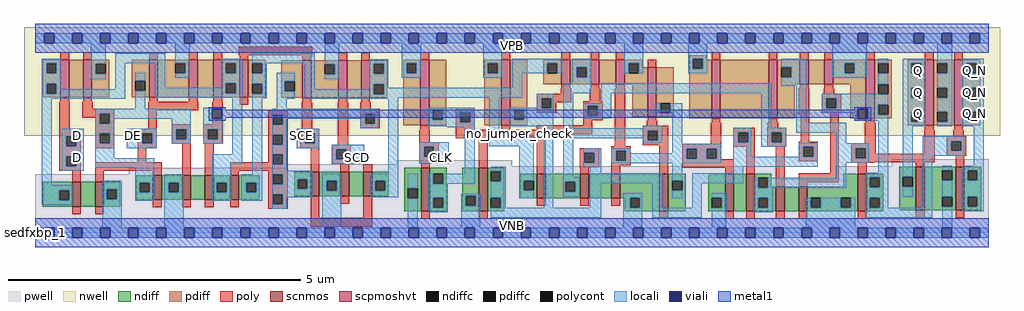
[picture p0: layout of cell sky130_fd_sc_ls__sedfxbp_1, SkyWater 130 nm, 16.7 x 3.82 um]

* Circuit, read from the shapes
.subckt sky130_fd_sc_ls__sedfxbp_1 CLK D DE SCD SCE VGND VNB VPB VPWR Q Q_N
XM1 n1 D n2 VNB sky130_fd_pr__nfet_01v8 w=0.42 l=0.15
XM2 VGND DE n1 VNB sky130_fd_pr__nfet_01v8 w=0.42 l=0.15
XM3 VGND DE n3 VNB sky130_fd_pr__nfet_01v8 w=0.42 l=0.15
XM4 n4 n3 VGND VNB sky130_fd_pr__nfet_01v8 w=0.42 l=0.15
XM5 n2 n5 n4 VNB sky130_fd_pr__nfet_01v8 w=0.42 l=0.15
XM6 n6 n7 n2 VNB sky130_fd_pr__nfet_01v8 w=0.42 l=0.15
XM7 VGND SCE n7 VNB sky130_fd_pr__nfet_01v8 w=0.42 l=0.15
XM8 n8 SCD VGND VNB sky130_fd_pr__nfet_01v8 w=0.42 l=0.15
XM9 n6 SCE n8 VNB sky130_fd_pr__nfet_01v8 w=0.42 l=0.15
XM10 n9 CLK VGND VNB sky130_fd_pr__nfet_01v8 w=0.74 l=0.15
XM11 n10 n9 VGND VNB sky130_fd_pr__nfet_01v8 w=0.74 l=0.15
XM12 n11 n9 n6 VNB sky130_fd_pr__nfet_01v8 w=0.42 l=0.15
XM13 n12 n10 n11 VNB sky130_fd_pr__nfet_01v8 w=0.42 l=0.15
XM14 VGND n13 n12 VNB sky130_fd_pr__nfet_01v8 w=0.42 l=0.15
XM15 n13 n11 VGND VNB sky130_fd_pr__nfet_01v8 w=0.64 l=0.15
XM16 n14 n13 VGND VNB sky130_fd_pr__nfet_01v8 w=0.64 l=0.15
XM17 n15 n10 n14 VNB sky130_fd_pr__nfet_01v8 w=0.64 l=0.15
XM18 n16 n9 n15 VNB sky130_fd_pr__nfet_01v8 w=0.42 l=0.15
XM19 VGND n5 n16 VNB sky130_fd_pr__nfet_01v8 w=0.42 l=0.15
XM20 n5 n15 VGND VNB sky130_fd_pr__nfet_01v8 w=0.64 l=0.15
XM21 VGND n15 Q VNB sky130_fd_pr__nfet_01v8 w=0.74 l=0.15
XM22 Q_N n5 VGND VNB sky130_fd_pr__nfet_01v8 w=0.74 l=0.15
XM23 n17 D n2 VPB sky130_fd_pr__pfet_01v8_hvt w=0.64 l=0.15
XM24 VPWR n3 n17 VPB sky130_fd_pr__pfet_01v8_hvt w=0.64 l=0.15
XM25 VPWR DE n3 VPB sky130_fd_pr__pfet_01v8_hvt w=0.64 l=0.15
XM26 n18 DE VPWR VPB sky130_fd_pr__pfet_01v8_hvt w=0.64 l=0.15
XM27 n2 n5 n18 VPB sky130_fd_pr__pfet_01v8_hvt w=0.64 l=0.15
XM28 n6 SCE n2 VPB sky130_fd_pr__pfet_01v8_hvt w=0.64 l=0.15
XM29 VPWR SCE n7 VPB sky130_fd_pr__pfet_01v8_hvt w=0.64 l=0.15
XM30 n19 SCD VPWR VPB sky130_fd_pr__pfet_01v8_hvt w=0.64 l=0.15
XM31 n6 n7 n19 VPB sky130_fd_pr__pfet_01v8_hvt w=0.64 l=0.15
XM32 n9 CLK VPWR VPB sky130_fd_pr__pfet_01v8_hvt w=1.12 l=0.15
XM33 n10 n9 VPWR VPB sky130_fd_pr__pfet_01v8_hvt w=1.12 l=0.15
XM34 n11 n10 n6 VPB sky130_fd_pr__pfet_01v8_hvt w=0.42 l=0.15
XM35 n20 n9 n11 VPB sky130_fd_pr__pfet_01v8_hvt w=0.42 l=0.15
XM36 VPWR n13 n20 VPB sky130_fd_pr__pfet_01v8_hvt w=0.42 l=0.15
XM37 n13 n11 VPWR VPB sky130_fd_pr__pfet_01v8_hvt w=0.84 l=0.15
XM38 n21 n13 VPWR VPB sky130_fd_pr__pfet_01v8_hvt w=1 l=0.15
XM39 n15 n9 n21 VPB sky130_fd_pr__pfet_01v8_hvt w=1 l=0.15
XM40 n22 n10 n15 VPB sky130_fd_pr__pfet_01v8_hvt w=0.42 l=0.15
XM41 VPWR n5 n22 VPB sky130_fd_pr__pfet_01v8_hvt w=0.42 l=0.15
XM42 n5 n15 VPWR VPB sky130_fd_pr__pfet_01v8_hvt w=1 l=0.15
XM43 VPWR n15 Q VPB sky130_fd_pr__pfet_01v8_hvt w=1.12 l=0.15
XM44 Q_N n5 VPWR VPB sky130_fd_pr__pfet_01v8_hvt w=1.12 l=0.15
.ends

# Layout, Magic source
magic
tech sky130A
magscale 1 2
<< nwell >>
rect -38 332 3302 704
<< pwell >>
rect 1238 235 1632 248
rect 860 228 1632 235
rect 2931 228 3263 252
rect 860 223 2546 228
rect 320 200 2546 223
rect 1 184 2546 200
rect 2740 184 3263 228
rect 1 49 3263 184
rect 0 0 3264 49
<< scnmos >>
rect 127 90 157 174
rect 205 90 235 174
rect 403 113 433 197
rect 503 113 533 197
rect 581 113 611 197
rect 667 113 697 197
rect 943 125 973 209
rect 1045 125 1075 209
rect 1123 125 1153 209
rect 1321 74 1351 222
rect 1519 74 1549 222
rect 1717 118 1747 202
rect 1865 118 1895 202
rect 1972 118 2002 202
rect 2136 74 2166 202
rect 2361 74 2391 202
rect 2433 74 2463 202
rect 2535 74 2565 158
rect 2613 74 2643 158
rect 2816 74 2846 202
rect 3014 78 3044 226
rect 3150 78 3180 226
<< scpmoshvt >>
rect 86 464 116 592
rect 164 464 194 592
rect 390 464 420 592
rect 526 464 556 592
rect 610 464 640 592
rect 700 464 730 592
rect 915 462 945 590
rect 1038 462 1068 590
rect 1116 462 1146 590
rect 1318 368 1348 592
rect 1596 368 1626 592
rect 1801 508 1831 592
rect 1901 508 1931 592
rect 1987 508 2017 592
rect 2096 398 2126 566
rect 2315 392 2345 592
rect 2510 392 2540 592
rect 2617 508 2647 592
rect 2701 508 2731 592
rect 2843 392 2873 592
rect 3045 368 3075 592
rect 3145 368 3175 592
<< ndiff >>
rect 27 146 127 174
rect 27 112 82 146
rect 116 112 127 146
rect 27 90 127 112
rect 157 90 205 174
rect 235 149 292 174
rect 235 115 246 149
rect 280 115 292 149
rect 235 90 292 115
rect 346 172 403 197
rect 346 138 358 172
rect 392 138 403 172
rect 346 113 403 138
rect 433 172 503 197
rect 433 138 458 172
rect 492 138 503 172
rect 433 113 503 138
rect 533 113 581 197
rect 611 172 667 197
rect 611 138 622 172
rect 656 138 667 172
rect 611 113 667 138
rect 697 172 768 197
rect 697 138 722 172
rect 756 138 768 172
rect 697 113 768 138
rect 886 184 943 209
rect 886 150 898 184
rect 932 150 943 184
rect 886 125 943 150
rect 973 178 1045 209
rect 973 144 998 178
rect 1032 144 1045 178
rect 973 125 1045 144
rect 1075 125 1123 209
rect 1153 178 1210 209
rect 1153 144 1164 178
rect 1198 144 1210 178
rect 1153 125 1210 144
rect 1264 153 1321 222
rect 1264 119 1276 153
rect 1310 119 1321 153
rect 1264 74 1321 119
rect 1351 202 1408 222
rect 1351 168 1362 202
rect 1396 168 1408 202
rect 1351 120 1408 168
rect 1351 86 1362 120
rect 1396 86 1408 120
rect 1351 74 1408 86
rect 1462 127 1519 222
rect 1462 93 1474 127
rect 1508 93 1519 127
rect 1462 74 1519 93
rect 1549 210 1606 222
rect 1549 176 1560 210
rect 1594 176 1606 210
rect 1549 120 1606 176
rect 1549 86 1560 120
rect 1594 86 1606 120
rect 1660 179 1717 202
rect 1660 145 1672 179
rect 1706 145 1717 179
rect 1660 118 1717 145
rect 1747 174 1865 202
rect 1747 140 1814 174
rect 1848 140 1865 174
rect 1747 118 1865 140
rect 1895 118 1972 202
rect 2002 120 2136 202
rect 2002 118 2036 120
rect 1549 74 1606 86
rect 2017 86 2036 118
rect 2070 86 2136 120
rect 2017 74 2136 86
rect 2166 179 2226 202
rect 2166 145 2180 179
rect 2214 145 2226 179
rect 2166 74 2226 145
rect 2304 120 2361 202
rect 2304 86 2316 120
rect 2350 86 2361 120
rect 2304 74 2361 86
rect 2391 74 2433 202
rect 2463 188 2520 202
rect 2463 154 2474 188
rect 2508 158 2520 188
rect 2766 158 2816 202
rect 2508 154 2535 158
rect 2463 120 2535 154
rect 2463 86 2474 120
rect 2508 86 2535 120
rect 2463 74 2535 86
rect 2565 74 2613 158
rect 2643 120 2816 158
rect 2643 86 2654 120
rect 2688 86 2757 120
rect 2791 86 2816 120
rect 2643 74 2816 86
rect 2846 190 2903 202
rect 2846 156 2857 190
rect 2891 156 2903 190
rect 2846 120 2903 156
rect 2846 86 2857 120
rect 2891 86 2903 120
rect 2846 74 2903 86
rect 2957 191 3014 226
rect 2957 157 2969 191
rect 3003 157 3014 191
rect 2957 78 3014 157
rect 3044 214 3150 226
rect 3044 180 3105 214
rect 3139 180 3150 214
rect 3044 124 3150 180
rect 3044 90 3105 124
rect 3139 90 3150 124
rect 3044 78 3150 90
rect 3180 214 3237 226
rect 3180 180 3191 214
rect 3225 180 3237 214
rect 3180 124 3237 180
rect 3180 90 3191 124
rect 3225 90 3237 124
rect 3180 78 3237 90
<< pdiff >>
rect 27 580 86 592
rect 27 546 39 580
rect 73 546 86 580
rect 27 510 86 546
rect 27 476 39 510
rect 73 476 86 510
rect 27 464 86 476
rect 116 464 164 592
rect 194 578 253 592
rect 194 544 207 578
rect 241 544 253 578
rect 194 464 253 544
rect 331 520 390 592
rect 331 486 343 520
rect 377 486 390 520
rect 331 464 390 486
rect 420 580 526 592
rect 420 546 479 580
rect 513 546 526 580
rect 420 464 526 546
rect 556 464 610 592
rect 640 580 700 592
rect 640 546 653 580
rect 687 546 700 580
rect 640 512 700 546
rect 640 478 653 512
rect 687 478 700 512
rect 640 464 700 478
rect 730 580 789 592
rect 2239 596 2297 608
rect 730 546 743 580
rect 777 546 789 580
rect 730 510 789 546
rect 730 476 743 510
rect 777 476 789 510
rect 730 464 789 476
rect 843 519 915 590
rect 843 485 855 519
rect 889 485 915 519
rect 843 462 915 485
rect 945 577 1038 590
rect 945 543 991 577
rect 1025 543 1038 577
rect 945 462 1038 543
rect 1068 462 1116 590
rect 1146 578 1205 590
rect 1146 544 1159 578
rect 1193 544 1205 578
rect 1146 508 1205 544
rect 1146 474 1159 508
rect 1193 474 1205 508
rect 1146 462 1205 474
rect 1259 580 1318 592
rect 1259 546 1271 580
rect 1305 546 1318 580
rect 1259 368 1318 546
rect 1348 421 1407 592
rect 1537 580 1596 592
rect 1537 546 1549 580
rect 1583 546 1596 580
rect 1348 387 1361 421
rect 1395 387 1407 421
rect 1348 368 1407 387
rect 1537 368 1596 546
rect 1626 421 1685 592
rect 1739 580 1801 592
rect 1739 546 1752 580
rect 1786 546 1801 580
rect 1739 508 1801 546
rect 1831 567 1901 592
rect 1831 533 1854 567
rect 1888 533 1901 567
rect 1831 508 1901 533
rect 1931 508 1987 592
rect 2017 580 2078 592
rect 2017 546 2032 580
rect 2066 566 2078 580
rect 2066 546 2096 566
rect 2017 508 2096 546
rect 1626 387 1639 421
rect 1673 387 1685 421
rect 1626 368 1685 387
rect 2043 398 2096 508
rect 2126 444 2185 566
rect 2126 410 2139 444
rect 2173 410 2185 444
rect 2126 398 2185 410
rect 2239 562 2251 596
rect 2285 592 2297 596
rect 2285 562 2315 592
rect 2239 392 2315 562
rect 2345 392 2510 592
rect 2540 567 2617 592
rect 2540 533 2553 567
rect 2587 533 2617 567
rect 2540 508 2617 533
rect 2647 508 2701 592
rect 2731 580 2843 592
rect 2731 546 2770 580
rect 2804 546 2843 580
rect 2731 508 2843 546
rect 2540 392 2599 508
rect 2790 392 2843 508
rect 2873 580 2932 592
rect 2873 546 2886 580
rect 2920 546 2932 580
rect 2873 509 2932 546
rect 2873 475 2886 509
rect 2920 475 2932 509
rect 2873 438 2932 475
rect 2873 404 2886 438
rect 2920 404 2932 438
rect 2873 392 2932 404
rect 2986 580 3045 592
rect 2986 546 2998 580
rect 3032 546 3045 580
rect 2986 497 3045 546
rect 2986 463 2998 497
rect 3032 463 3045 497
rect 2986 414 3045 463
rect 2986 380 2998 414
rect 3032 380 3045 414
rect 2986 368 3045 380
rect 3075 580 3145 592
rect 3075 546 3088 580
rect 3122 546 3145 580
rect 3075 497 3145 546
rect 3075 463 3088 497
rect 3122 463 3145 497
rect 3075 414 3145 463
rect 3075 380 3088 414
rect 3122 380 3145 414
rect 3075 368 3145 380
rect 3175 580 3234 592
rect 3175 546 3188 580
rect 3222 546 3234 580
rect 3175 497 3234 546
rect 3175 463 3188 497
rect 3222 463 3234 497
rect 3175 414 3234 463
rect 3175 380 3188 414
rect 3222 380 3234 414
rect 3175 368 3234 380
<< ndiffc >>
rect 82 112 116 146
rect 246 115 280 149
rect 358 138 392 172
rect 458 138 492 172
rect 622 138 656 172
rect 722 138 756 172
rect 898 150 932 184
rect 998 144 1032 178
rect 1164 144 1198 178
rect 1276 119 1310 153
rect 1362 168 1396 202
rect 1362 86 1396 120
rect 1474 93 1508 127
rect 1560 176 1594 210
rect 1560 86 1594 120
rect 1672 145 1706 179
rect 1814 140 1848 174
rect 2036 86 2070 120
rect 2180 145 2214 179
rect 2316 86 2350 120
rect 2474 154 2508 188
rect 2474 86 2508 120
rect 2654 86 2688 120
rect 2757 86 2791 120
rect 2857 156 2891 190
rect 2857 86 2891 120
rect 2969 157 3003 191
rect 3105 180 3139 214
rect 3105 90 3139 124
rect 3191 180 3225 214
rect 3191 90 3225 124
<< pdiffc >>
rect 39 546 73 580
rect 39 476 73 510
rect 207 544 241 578
rect 343 486 377 520
rect 479 546 513 580
rect 653 546 687 580
rect 653 478 687 512
rect 743 546 777 580
rect 743 476 777 510
rect 855 485 889 519
rect 991 543 1025 577
rect 1159 544 1193 578
rect 1159 474 1193 508
rect 1271 546 1305 580
rect 1549 546 1583 580
rect 1361 387 1395 421
rect 1752 546 1786 580
rect 1854 533 1888 567
rect 2032 546 2066 580
rect 1639 387 1673 421
rect 2139 410 2173 444
rect 2251 562 2285 596
rect 2553 533 2587 567
rect 2770 546 2804 580
rect 2886 546 2920 580
rect 2886 475 2920 509
rect 2886 404 2920 438
rect 2998 546 3032 580
rect 2998 463 3032 497
rect 2998 380 3032 414
rect 3088 546 3122 580
rect 3088 463 3122 497
rect 3088 380 3122 414
rect 3188 546 3222 580
rect 3188 463 3222 497
rect 3188 380 3222 414
<< poly >>
rect 86 592 116 618
rect 164 592 194 618
rect 390 592 420 618
rect 526 592 556 618
rect 610 592 640 618
rect 697 607 948 637
rect 700 592 730 607
rect 912 605 948 607
rect 915 590 945 605
rect 1038 590 1068 616
rect 1116 590 1146 616
rect 1318 592 1348 618
rect 1596 592 1626 618
rect 1801 592 1831 618
rect 1901 592 1931 618
rect 1987 592 2017 618
rect 86 449 116 464
rect 164 449 194 464
rect 390 449 420 464
rect 526 449 556 464
rect 610 449 640 464
rect 83 346 119 449
rect 161 424 197 449
rect 161 408 271 424
rect 161 394 221 408
rect 205 374 221 394
rect 255 374 271 408
rect 83 330 157 346
rect 83 296 107 330
rect 141 296 157 330
rect 83 262 157 296
rect 205 340 271 374
rect 387 419 559 449
rect 387 356 417 419
rect 607 371 643 449
rect 700 438 730 464
rect 915 447 945 462
rect 1038 447 1068 462
rect 1116 447 1146 462
rect 205 306 221 340
rect 255 306 271 340
rect 205 290 271 306
rect 351 340 417 356
rect 351 306 367 340
rect 401 306 417 340
rect 351 290 417 306
rect 467 355 533 371
rect 467 321 483 355
rect 517 321 533 355
rect 467 305 533 321
rect 575 355 643 371
rect 575 321 591 355
rect 625 321 643 355
rect 575 305 643 321
rect 798 404 864 420
rect 798 370 814 404
rect 848 370 864 404
rect 798 336 864 370
rect 912 356 948 447
rect 83 228 107 262
rect 141 228 157 262
rect 351 242 381 290
rect 83 212 157 228
rect 127 174 157 212
rect 205 212 433 242
rect 205 174 235 212
rect 403 197 433 212
rect 503 197 533 305
rect 581 197 611 305
rect 798 302 814 336
rect 848 302 864 336
rect 798 268 864 302
rect 907 340 973 356
rect 907 306 923 340
rect 957 306 973 340
rect 907 290 973 306
rect 1035 302 1071 447
rect 1113 424 1149 447
rect 1113 408 1179 424
rect 1113 374 1129 408
rect 1163 374 1179 408
rect 1113 358 1179 374
rect 1439 412 1505 428
rect 1439 378 1455 412
rect 1489 378 1505 412
rect 1318 353 1348 368
rect 1439 353 1505 378
rect 2096 566 2126 592
rect 1801 493 1831 508
rect 1901 493 1931 508
rect 1987 493 2017 508
rect 1798 476 1834 493
rect 1717 460 1834 476
rect 1717 426 1733 460
rect 1767 446 1834 460
rect 1898 451 1934 493
rect 1767 426 1783 446
rect 1717 410 1783 426
rect 1876 435 1942 451
rect 1876 401 1892 435
rect 1926 401 1942 435
rect 1876 385 1942 401
rect 1876 368 1906 385
rect 1596 353 1626 368
rect 1717 353 1906 368
rect 1315 310 1351 353
rect 1439 338 1906 353
rect 1439 323 1747 338
rect 798 242 814 268
rect 667 234 814 242
rect 848 234 864 268
rect 667 212 864 234
rect 667 197 697 212
rect 798 200 864 212
rect 943 209 973 290
rect 1015 286 1081 302
rect 1015 252 1031 286
rect 1065 252 1081 286
rect 1015 236 1081 252
rect 1315 294 1381 310
rect 1315 260 1331 294
rect 1365 260 1381 294
rect 1315 244 1381 260
rect 1045 209 1075 236
rect 1123 209 1153 235
rect 1321 222 1351 244
rect 1519 222 1549 323
rect 798 166 814 200
rect 848 166 864 200
rect 798 132 864 166
rect 127 64 157 90
rect 205 64 235 90
rect 403 87 433 113
rect 503 87 533 113
rect 581 87 611 113
rect 667 87 697 113
rect 798 98 814 132
rect 848 98 864 132
rect 798 82 864 98
rect 943 51 973 125
rect 1045 99 1075 125
rect 1123 51 1153 125
rect 1717 202 1747 323
rect 1984 297 2020 493
rect 2315 592 2345 618
rect 2510 592 2540 618
rect 2617 592 2647 618
rect 2701 592 2731 618
rect 2843 592 2873 618
rect 3045 592 3075 618
rect 3145 592 3175 618
rect 2096 383 2126 398
rect 2617 493 2647 508
rect 2701 493 2731 508
rect 2614 408 2650 493
rect 2698 476 2734 493
rect 2692 460 2758 476
rect 2692 426 2708 460
rect 2742 426 2758 460
rect 2692 410 2758 426
rect 2093 366 2129 383
rect 2315 377 2345 392
rect 2510 377 2540 392
rect 2080 350 2166 366
rect 2080 316 2096 350
rect 2130 316 2166 350
rect 2080 300 2166 316
rect 2312 304 2348 377
rect 2507 360 2543 377
rect 1864 274 1930 290
rect 1864 240 1880 274
rect 1914 240 1930 274
rect 1864 224 1930 240
rect 1972 281 2038 297
rect 1972 247 1988 281
rect 2022 247 2038 281
rect 1972 231 2038 247
rect 1865 202 1895 224
rect 1972 202 2002 231
rect 2136 202 2166 300
rect 2214 288 2348 304
rect 2390 344 2463 360
rect 2390 310 2406 344
rect 2440 310 2463 344
rect 2390 294 2463 310
rect 2505 344 2571 360
rect 2505 310 2521 344
rect 2555 310 2571 344
rect 2620 311 2650 408
rect 2505 294 2571 310
rect 2613 295 2679 311
rect 2214 254 2230 288
rect 2264 254 2298 288
rect 2332 254 2348 288
rect 2214 252 2348 254
rect 2214 222 2391 252
rect 2361 202 2391 222
rect 2433 202 2463 294
rect 1717 92 1747 118
rect 1865 92 1895 118
rect 1972 92 2002 118
rect 2535 158 2565 294
rect 2613 261 2629 295
rect 2663 261 2679 295
rect 2613 245 2679 261
rect 2721 203 2751 410
rect 2843 377 2873 392
rect 2840 306 2876 377
rect 3045 353 3075 368
rect 3145 353 3175 368
rect 2793 290 2876 306
rect 2793 256 2809 290
rect 2843 271 2876 290
rect 3042 271 3078 353
rect 3142 330 3178 353
rect 2843 256 3078 271
rect 3120 314 3186 330
rect 3120 280 3136 314
rect 3170 280 3186 314
rect 3120 264 3186 280
rect 2793 241 3078 256
rect 2793 240 2870 241
rect 2613 173 2751 203
rect 2816 202 2846 240
rect 3014 226 3044 241
rect 3150 226 3180 264
rect 2613 158 2643 173
rect 943 21 1153 51
rect 1321 48 1351 74
rect 1519 48 1549 74
rect 2136 48 2166 74
rect 2361 48 2391 74
rect 2433 48 2463 74
rect 2535 48 2565 74
rect 2613 48 2643 74
rect 2816 48 2846 74
rect 3014 52 3044 78
rect 3150 52 3180 78
<< polycont >>
rect 221 374 255 408
rect 107 296 141 330
rect 221 306 255 340
rect 367 306 401 340
rect 483 321 517 355
rect 591 321 625 355
rect 814 370 848 404
rect 107 228 141 262
rect 814 302 848 336
rect 923 306 957 340
rect 1129 374 1163 408
rect 1455 378 1489 412
rect 1733 426 1767 460
rect 1892 401 1926 435
rect 814 234 848 268
rect 1031 252 1065 286
rect 1331 260 1365 294
rect 814 166 848 200
rect 814 98 848 132
rect 2708 426 2742 460
rect 2096 316 2130 350
rect 1880 240 1914 274
rect 1988 247 2022 281
rect 2406 310 2440 344
rect 2521 310 2555 344
rect 2230 254 2264 288
rect 2298 254 2332 288
rect 2629 261 2663 295
rect 2809 256 2843 290
rect 3136 280 3170 314
<< locali >>
rect 0 649 31 683
rect 65 649 127 683
rect 161 649 223 683
rect 257 649 319 683
rect 353 649 415 683
rect 449 649 511 683
rect 545 649 607 683
rect 641 649 703 683
rect 737 649 799 683
rect 833 649 895 683
rect 929 649 991 683
rect 1025 649 1087 683
rect 1121 649 1183 683
rect 1217 649 1279 683
rect 1313 649 1375 683
rect 1409 649 1471 683
rect 1505 649 1567 683
rect 1601 649 1663 683
rect 1697 649 1759 683
rect 1793 649 1855 683
rect 1889 649 1951 683
rect 1985 649 2047 683
rect 2081 649 2143 683
rect 2177 649 2239 683
rect 2273 649 2335 683
rect 2369 649 2431 683
rect 2465 649 2527 683
rect 2561 649 2623 683
rect 2657 649 2719 683
rect 2753 649 2815 683
rect 2849 649 2911 683
rect 2945 649 3007 683
rect 3041 649 3103 683
rect 3137 649 3199 683
rect 3233 649 3264 683
rect 23 580 89 596
rect 23 546 39 580
rect 73 546 89 580
rect 23 510 89 546
rect 191 578 241 649
rect 191 544 207 578
rect 191 526 241 544
rect 275 581 445 615
rect 23 476 39 510
rect 73 492 89 510
rect 275 492 309 581
rect 73 476 309 492
rect 23 458 309 476
rect 343 520 377 547
rect 23 162 57 458
rect 343 424 377 486
rect 411 496 445 581
rect 479 580 529 649
rect 513 546 529 580
rect 479 530 529 546
rect 637 580 709 596
rect 637 546 653 580
rect 687 546 709 580
rect 637 512 709 546
rect 637 496 653 512
rect 411 478 653 496
rect 687 478 709 512
rect 411 462 709 478
rect 575 424 641 428
rect 205 408 533 424
rect 205 374 221 408
rect 255 390 533 408
rect 255 374 271 390
rect 91 330 167 356
rect 91 296 107 330
rect 141 296 167 330
rect 91 262 167 296
rect 91 228 107 262
rect 141 228 167 262
rect 91 212 167 228
rect 205 340 271 374
rect 205 306 221 340
rect 255 306 271 340
rect 205 256 271 306
rect 313 340 417 356
rect 313 306 367 340
rect 401 306 417 340
rect 313 290 417 306
rect 467 355 533 390
rect 467 321 483 355
rect 517 321 533 355
rect 467 305 533 321
rect 575 390 607 424
rect 575 355 641 390
rect 575 321 591 355
rect 625 321 641 355
rect 575 305 641 321
rect 675 269 709 462
rect 205 222 408 256
rect 23 146 132 162
rect 23 112 82 146
rect 116 112 132 146
rect 23 96 132 112
rect 230 149 296 178
rect 230 115 246 149
rect 280 115 296 149
rect 230 17 296 115
rect 342 172 408 222
rect 606 235 709 269
rect 743 581 957 615
rect 743 580 793 581
rect 777 546 793 580
rect 743 510 793 546
rect 777 476 793 510
rect 743 460 793 476
rect 827 519 889 547
rect 827 485 855 519
rect 342 138 358 172
rect 392 138 408 172
rect 342 109 408 138
rect 442 172 508 201
rect 442 138 458 172
rect 492 138 508 172
rect 442 17 508 138
rect 606 172 672 235
rect 743 201 777 460
rect 827 458 889 485
rect 923 492 957 581
rect 991 577 1041 649
rect 1025 543 1041 577
rect 991 526 1041 543
rect 1143 578 1209 594
rect 1143 544 1159 578
rect 1193 544 1209 578
rect 1143 508 1209 544
rect 1255 580 1321 649
rect 1255 546 1271 580
rect 1305 546 1321 580
rect 1255 530 1321 546
rect 1533 580 1599 649
rect 1533 546 1549 580
rect 1583 546 1599 580
rect 1533 530 1599 546
rect 1633 580 1804 596
rect 1633 546 1752 580
rect 1786 546 1804 580
rect 1838 567 1904 596
rect 1143 492 1159 508
rect 923 474 1159 492
rect 1193 496 1209 508
rect 1633 496 1667 546
rect 1838 533 1854 567
rect 1888 533 1904 567
rect 2016 580 2082 649
rect 2016 546 2032 580
rect 2066 546 2082 580
rect 2235 596 2301 649
rect 2235 562 2251 596
rect 2285 562 2301 596
rect 2235 546 2301 562
rect 2553 567 2639 596
rect 1838 512 1904 533
rect 2587 533 2639 567
rect 1193 474 1667 496
rect 1808 478 1904 512
rect 1938 478 2519 512
rect 2553 504 2639 533
rect 2728 580 2846 649
rect 2728 546 2770 580
rect 2804 546 2846 580
rect 2728 530 2846 546
rect 2886 580 2920 596
rect 923 462 1667 474
rect 923 458 1242 462
rect 827 424 861 458
rect 606 138 622 172
rect 656 138 672 172
rect 606 109 672 138
rect 706 172 777 201
rect 706 138 722 172
rect 756 138 777 172
rect 706 109 777 138
rect 811 408 1174 424
rect 811 404 1129 408
rect 811 370 814 404
rect 848 390 1129 404
rect 848 370 861 390
rect 811 336 861 370
rect 1113 374 1129 390
rect 1163 374 1174 408
rect 1113 358 1174 374
rect 811 302 814 336
rect 848 302 861 336
rect 811 268 861 302
rect 895 340 973 356
rect 895 306 923 340
rect 957 306 973 340
rect 895 290 973 306
rect 811 234 814 268
rect 848 234 861 268
rect 1015 286 1127 302
rect 1015 252 1031 286
rect 1065 252 1127 286
rect 1015 236 1127 252
rect 811 213 861 234
rect 811 200 948 213
rect 1208 202 1242 458
rect 1345 421 1505 428
rect 1345 387 1361 421
rect 1395 412 1505 421
rect 1395 387 1455 412
rect 1345 378 1455 387
rect 1489 378 1505 412
rect 1345 364 1505 378
rect 1411 362 1505 364
rect 1315 294 1415 310
rect 1315 260 1331 294
rect 1365 260 1415 294
rect 1315 236 1415 260
rect 1471 202 1505 362
rect 1555 330 1589 462
rect 1717 460 1774 476
rect 1717 428 1733 460
rect 1623 426 1733 428
rect 1767 426 1774 460
rect 1623 421 1774 426
rect 1623 387 1639 421
rect 1673 387 1774 421
rect 1623 364 1774 387
rect 1555 296 1706 330
rect 811 166 814 200
rect 848 184 948 200
rect 848 166 898 184
rect 811 150 898 166
rect 932 150 948 184
rect 811 132 948 150
rect 811 98 814 132
rect 848 121 948 132
rect 982 178 1048 202
rect 982 144 998 178
rect 1032 144 1048 178
rect 848 98 861 121
rect 811 82 861 98
rect 982 17 1048 144
rect 1148 178 1242 202
rect 1148 144 1164 178
rect 1198 144 1242 178
rect 1148 121 1242 144
rect 1276 153 1310 202
rect 1276 17 1310 119
rect 1346 168 1362 202
rect 1396 168 1505 202
rect 1560 210 1610 226
rect 1594 176 1610 210
rect 1346 120 1412 168
rect 1346 86 1362 120
rect 1396 86 1412 120
rect 1346 70 1412 86
rect 1458 127 1524 134
rect 1458 93 1474 127
rect 1508 93 1524 127
rect 1458 17 1524 93
rect 1560 120 1610 176
rect 1594 86 1610 120
rect 1656 179 1706 296
rect 1656 145 1672 179
rect 1656 119 1706 145
rect 1560 85 1610 86
rect 1740 85 1774 364
rect 1808 358 1842 478
rect 1938 444 1972 478
rect 1876 435 1972 444
rect 1876 401 1892 435
rect 1926 401 1972 435
rect 2123 410 2139 444
rect 2173 410 2214 444
rect 1876 392 1972 401
rect 2080 358 2146 366
rect 1808 350 2146 358
rect 1808 324 2096 350
rect 1808 190 1842 324
rect 2080 316 2096 324
rect 2130 316 2146 350
rect 2080 306 2146 316
rect 2180 304 2214 410
rect 2485 360 2519 478
rect 2605 377 2639 504
rect 2886 509 2920 546
rect 2692 475 2886 476
rect 2692 460 2920 475
rect 2692 426 2708 460
rect 2742 438 2920 460
rect 2742 426 2886 438
rect 2692 424 2886 426
rect 2692 411 2815 424
rect 2809 390 2815 411
rect 2849 404 2886 424
rect 2849 390 2920 404
rect 2809 384 2920 390
rect 2390 344 2451 360
rect 2390 310 2406 344
rect 2440 310 2451 344
rect 1876 274 1938 290
rect 1876 240 1880 274
rect 1914 240 1938 274
rect 1876 224 1938 240
rect 1972 281 2038 290
rect 1972 247 1988 281
rect 2022 272 2038 281
rect 2180 288 2348 304
rect 2180 272 2230 288
rect 2022 254 2230 272
rect 2264 254 2298 288
rect 2332 254 2348 288
rect 2022 247 2348 254
rect 1972 238 2348 247
rect 2390 260 2451 310
rect 2485 344 2571 360
rect 2485 310 2521 344
rect 2555 310 2571 344
rect 2605 343 2775 377
rect 2485 294 2571 310
rect 2613 295 2679 309
rect 2613 261 2629 295
rect 2663 261 2679 295
rect 2613 260 2679 261
rect 1898 204 1938 224
rect 1808 174 1864 190
rect 1808 140 1814 174
rect 1848 140 1864 174
rect 1808 124 1864 140
rect 1898 170 2146 204
rect 1898 85 1938 170
rect 1560 51 1938 85
rect 2013 120 2078 136
rect 2013 86 2036 120
rect 2070 86 2078 120
rect 2013 17 2078 86
rect 2112 85 2146 170
rect 2180 179 2214 238
rect 2390 226 2679 260
rect 2741 306 2775 343
rect 2741 290 2852 306
rect 2741 256 2809 290
rect 2843 256 2852 290
rect 2741 240 2852 256
rect 2390 204 2424 226
rect 2180 119 2214 145
rect 2248 170 2424 204
rect 2741 188 2775 240
rect 2886 206 2920 384
rect 2248 85 2282 170
rect 2458 154 2474 188
rect 2508 154 2775 188
rect 2841 190 2920 206
rect 2841 156 2857 190
rect 2891 156 2920 190
rect 2112 51 2282 85
rect 2316 120 2366 136
rect 2350 86 2366 120
rect 2316 17 2366 86
rect 2458 120 2524 154
rect 2841 120 2920 156
rect 2969 580 3048 596
rect 2969 546 2998 580
rect 3032 546 3048 580
rect 2969 497 3048 546
rect 2969 463 2998 497
rect 3032 463 3048 497
rect 2969 414 3048 463
rect 2969 380 2998 414
rect 3032 380 3048 414
rect 2969 364 3048 380
rect 3088 580 3138 649
rect 3122 546 3138 580
rect 3088 497 3138 546
rect 3122 463 3138 497
rect 3088 414 3138 463
rect 3122 380 3138 414
rect 3088 364 3138 380
rect 3172 580 3247 596
rect 3172 546 3188 580
rect 3222 546 3247 580
rect 3172 497 3247 546
rect 3172 463 3188 497
rect 3222 463 3247 497
rect 3172 414 3247 463
rect 3172 380 3188 414
rect 3222 380 3247 414
rect 3172 364 3247 380
rect 2969 191 3003 364
rect 2969 124 3003 157
rect 3037 314 3179 330
rect 3037 280 3136 314
rect 3170 280 3179 314
rect 3037 264 3179 280
rect 2458 86 2474 120
rect 2508 86 2524 120
rect 2458 70 2524 86
rect 2638 86 2654 120
rect 2688 86 2757 120
rect 2791 86 2807 120
rect 2638 17 2807 86
rect 2841 86 2857 120
rect 2891 86 2920 120
rect 2841 85 2920 86
rect 3037 85 3071 264
rect 3213 230 3247 364
rect 2841 51 3071 85
rect 3105 214 3139 230
rect 3105 124 3139 180
rect 3105 17 3139 90
rect 3175 214 3247 230
rect 3175 180 3191 214
rect 3225 180 3247 214
rect 3175 124 3247 180
rect 3175 90 3191 124
rect 3225 90 3247 124
rect 3175 74 3247 90
rect 0 -17 31 17
rect 65 -17 127 17
rect 161 -17 223 17
rect 257 -17 319 17
rect 353 -17 415 17
rect 449 -17 511 17
rect 545 -17 607 17
rect 641 -17 703 17
rect 737 -17 799 17
rect 833 -17 895 17
rect 929 -17 991 17
rect 1025 -17 1087 17
rect 1121 -17 1183 17
rect 1217 -17 1279 17
rect 1313 -17 1375 17
rect 1409 -17 1471 17
rect 1505 -17 1567 17
rect 1601 -17 1663 17
rect 1697 -17 1759 17
rect 1793 -17 1855 17
rect 1889 -17 1951 17
rect 1985 -17 2047 17
rect 2081 -17 2143 17
rect 2177 -17 2239 17
rect 2273 -17 2335 17
rect 2369 -17 2431 17
rect 2465 -17 2527 17
rect 2561 -17 2623 17
rect 2657 -17 2719 17
rect 2753 -17 2815 17
rect 2849 -17 2911 17
rect 2945 -17 3007 17
rect 3041 -17 3103 17
rect 3137 -17 3199 17
rect 3233 -17 3264 17
<< viali >>
rect 31 649 65 683
rect 127 649 161 683
rect 223 649 257 683
rect 319 649 353 683
rect 415 649 449 683
rect 511 649 545 683
rect 607 649 641 683
rect 703 649 737 683
rect 799 649 833 683
rect 895 649 929 683
rect 991 649 1025 683
rect 1087 649 1121 683
rect 1183 649 1217 683
rect 1279 649 1313 683
rect 1375 649 1409 683
rect 1471 649 1505 683
rect 1567 649 1601 683
rect 1663 649 1697 683
rect 1759 649 1793 683
rect 1855 649 1889 683
rect 1951 649 1985 683
rect 2047 649 2081 683
rect 2143 649 2177 683
rect 2239 649 2273 683
rect 2335 649 2369 683
rect 2431 649 2465 683
rect 2527 649 2561 683
rect 2623 649 2657 683
rect 2719 649 2753 683
rect 2815 649 2849 683
rect 2911 649 2945 683
rect 3007 649 3041 683
rect 3103 649 3137 683
rect 3199 649 3233 683
rect 607 390 641 424
rect 2815 390 2849 424
rect 31 -17 65 17
rect 127 -17 161 17
rect 223 -17 257 17
rect 319 -17 353 17
rect 415 -17 449 17
rect 511 -17 545 17
rect 607 -17 641 17
rect 703 -17 737 17
rect 799 -17 833 17
rect 895 -17 929 17
rect 991 -17 1025 17
rect 1087 -17 1121 17
rect 1183 -17 1217 17
rect 1279 -17 1313 17
rect 1375 -17 1409 17
rect 1471 -17 1505 17
rect 1567 -17 1601 17
rect 1663 -17 1697 17
rect 1759 -17 1793 17
rect 1855 -17 1889 17
rect 1951 -17 1985 17
rect 2047 -17 2081 17
rect 2143 -17 2177 17
rect 2239 -17 2273 17
rect 2335 -17 2369 17
rect 2431 -17 2465 17
rect 2527 -17 2561 17
rect 2623 -17 2657 17
rect 2719 -17 2753 17
rect 2815 -17 2849 17
rect 2911 -17 2945 17
rect 3007 -17 3041 17
rect 3103 -17 3137 17
rect 3199 -17 3233 17
<< metal1 >>
rect 0 683 3264 715
rect 0 649 31 683
rect 65 649 127 683
rect 161 649 223 683
rect 257 649 319 683
rect 353 649 415 683
rect 449 649 511 683
rect 545 649 607 683
rect 641 649 703 683
rect 737 649 799 683
rect 833 649 895 683
rect 929 649 991 683
rect 1025 649 1087 683
rect 1121 649 1183 683
rect 1217 649 1279 683
rect 1313 649 1375 683
rect 1409 649 1471 683
rect 1505 649 1567 683
rect 1601 649 1663 683
rect 1697 649 1759 683
rect 1793 649 1855 683
rect 1889 649 1951 683
rect 1985 649 2047 683
rect 2081 649 2143 683
rect 2177 649 2239 683
rect 2273 649 2335 683
rect 2369 649 2431 683
rect 2465 649 2527 683
rect 2561 649 2623 683
rect 2657 649 2719 683
rect 2753 649 2815 683
rect 2849 649 2911 683
rect 2945 649 3007 683
rect 3041 649 3103 683
rect 3137 649 3199 683
rect 3233 649 3264 683
rect 0 617 3264 649
rect 595 424 653 430
rect 595 390 607 424
rect 641 421 653 424
rect 2803 424 2861 430
rect 2803 421 2815 424
rect 641 393 2815 421
rect 641 390 653 393
rect 595 384 653 390
rect 2803 390 2815 393
rect 2849 390 2861 424
rect 2803 384 2861 390
rect 0 17 3264 49
rect 0 -17 31 17
rect 65 -17 127 17
rect 161 -17 223 17
rect 257 -17 319 17
rect 353 -17 415 17
rect 449 -17 511 17
rect 545 -17 607 17
rect 641 -17 703 17
rect 737 -17 799 17
rect 833 -17 895 17
rect 929 -17 991 17
rect 1025 -17 1087 17
rect 1121 -17 1183 17
rect 1217 -17 1279 17
rect 1313 -17 1375 17
rect 1409 -17 1471 17
rect 1505 -17 1567 17
rect 1601 -17 1663 17
rect 1697 -17 1759 17
rect 1793 -17 1855 17
rect 1889 -17 1951 17
rect 1985 -17 2047 17
rect 2081 -17 2143 17
rect 2177 -17 2239 17
rect 2273 -17 2335 17
rect 2369 -17 2431 17
rect 2465 -17 2527 17
rect 2561 -17 2623 17
rect 2657 -17 2719 17
rect 2753 -17 2815 17
rect 2849 -17 2911 17
rect 2945 -17 3007 17
rect 3041 -17 3103 17
rect 3137 -17 3199 17
rect 3233 -17 3264 17
rect 0 -49 3264 -17
<< labels >>
rlabel comment s 0 0 0 0 4 sedfxbp_1
flabel comment s 1657 341 1657 341 0 FreeSans 200 0 0 0 no_jumper_check
flabel pwell s 0 0 3264 49 0 FreeSans 200 0 0 0 VNB
port 7 nsew ground bidirectional
flabel nwell s 0 617 3264 666 0 FreeSans 200 0 0 0 VPB
port 8 nsew power bidirectional
flabel metal1 s 0 617 3264 666 0 FreeSans 340 0 0 0 VPWR
port 9 nsew power bidirectional abutment
flabel metal1 s 0 0 3264 49 0 FreeSans 340 0 0 0 VGND
port 6 nsew ground bidirectional abutment
flabel locali s 3199 390 3233 424 0 FreeSans 340 0 0 0 Q_N
port 11 nsew signal output
flabel locali s 3199 464 3233 498 0 FreeSans 340 0 0 0 Q_N
port 11 nsew signal output
flabel locali s 3199 538 3233 572 0 FreeSans 340 0 0 0 Q_N
port 11 nsew signal output
flabel locali s 1375 242 1409 276 0 FreeSans 340 0 0 0 CLK
port 1 nsew clock input
flabel locali s 3007 390 3041 424 0 FreeSans 340 0 0 0 Q
port 10 nsew signal output
flabel locali s 3007 464 3041 498 0 FreeSans 340 0 0 0 Q
port 10 nsew signal output
flabel locali s 3007 538 3041 572 0 FreeSans 340 0 0 0 Q
port 10 nsew signal output
flabel locali s 1087 242 1121 276 0 FreeSans 340 0 0 0 SCD
port 4 nsew signal input
flabel locali s 895 316 929 350 0 FreeSans 340 0 0 0 SCE
port 5 nsew signal input
flabel locali s 319 316 353 350 0 FreeSans 340 0 0 0 DE
port 3 nsew signal input
flabel locali s 127 242 161 276 0 FreeSans 340 0 0 0 D
port 2 nsew signal input
flabel locali s 127 316 161 350 0 FreeSans 340 0 0 0 D
port 2 nsew signal input
<< properties >>
string LEFsite unit
string LEFclass CORE
string FIXED_BBOX 0 0 3264 666
string GDS_FILE $PDKPATH/libs.ref/sky130_fd_sc_ls/gds/sky130_fd_sc_ls.gds
string LEFsymmetry X Y
string GDS_END 3791054
string GDS_START 3768222
<< end >>
